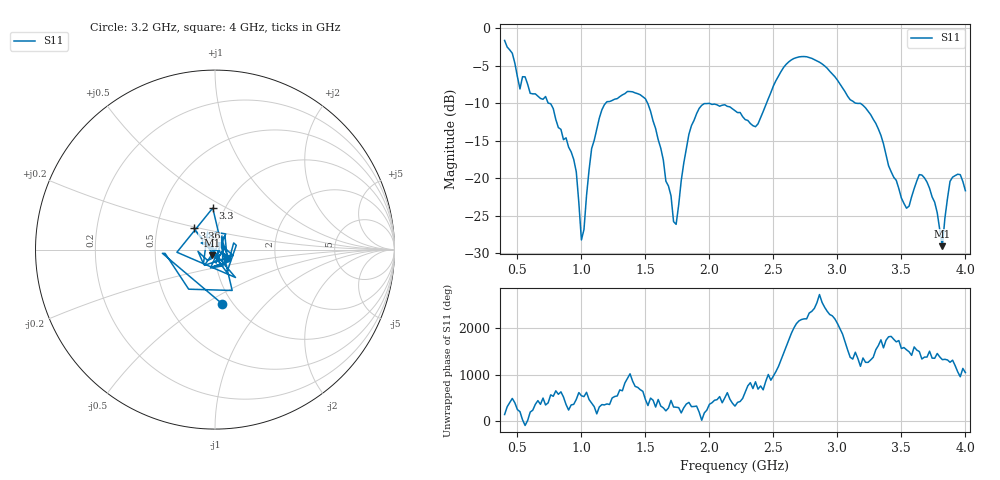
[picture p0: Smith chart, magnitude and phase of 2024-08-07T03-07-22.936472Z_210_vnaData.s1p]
!Created with skrf (http://scikit-rf.org).
# Hz S RI R 50.0
!freq ReS11 ImS11
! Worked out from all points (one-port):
!   181 points, 400 MHz to 4 GHz, reference 50 ohm
!   lowest |S11| = -29.0 dB at 3.82 GHz (marker M1), VSWR 1.07, Z = 48.3 - j3.02 ohm
!   |S11| at or under -10 dB: 740.2 MHz to 1.19 GHz (450.1 MHz wide, 46.6 % of centre); 1.517 GHz to 2.446 GHz (929.4 MHz wide, 46.9 % of centre); 3.14 GHz to end of sweep
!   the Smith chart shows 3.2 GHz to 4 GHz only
!   S11 on the Smith chart (normalised r, x): 3.2 GHz: 0.90, -0.60; 3.3 GHz: 0.88, +0.43; 3.36 GHz: 0.77, +0.19; 4 GHz: 1.14, -0.11
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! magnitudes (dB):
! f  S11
! 400 MHz  -1.7
! 520 MHz  -8.1
! 720 MHz  -9.1
! 860 MHz  -14.9
! 960 MHz  -19.2
! 1 GHz  -28.2
! 1.08 GHz  -16.0
! 1.14 GHz  -12.0
! 1.3 GHz  -9.1
! 1.5 GHz  -9.4
! 1.62 GHz  -16.0
! 1.72 GHz  -25.8
! 1.76 GHz  -23.6
! 1.84 GHz  -14.1
! 1.92 GHz  -10.7
! 2.2 GHz  -11.0
! 2.36 GHz  -13.1
! 2.66 GHz  -4.1
! 2.88 GHz  -4.8
! 3.1 GHz  -9.6
! 3.2 GHz  -10.3
! 3.3 GHz  -12.7
! 3.36 GHz  -15.4
! 3.56 GHz  -23.7
! 3.68 GHz  -20.0
! 3.82 GHz  -29.0
! 3.88 GHz  -20.4
! 4 GHz  -21.7
